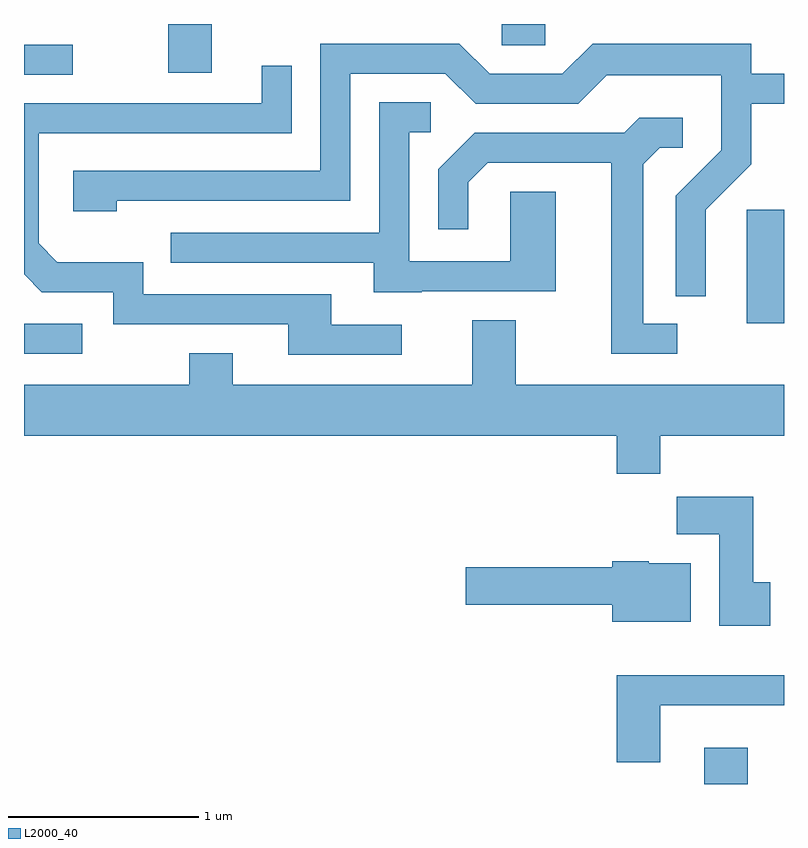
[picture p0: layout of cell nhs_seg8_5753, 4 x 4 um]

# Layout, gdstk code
import gdstk
lib = gdstk.Library(unit=1e-6, precision=1e-09)
def R(c, l, rs):  # rectangles x0, y0, x1, y1
    for r in rs: c.add(gdstk.rectangle(r[:2], r[2:], *l))
def P(c, l, *ps):  # polygons
    for p in ps: c.add(gdstk.Polygon(p, *l))
L2000_40 = (2000, 40)

nhs_seg8_5753 = lib.new_cell('nhs_seg8_5753')
R(nhs_seg8_5753, L2000_40, [(361.191,1852.342,361.419,1852.534), (357.611,1854.606,357.918,1854.764), (361.416,1854.766,361.611,1855.364), (357.611,1856.076,357.868,1856.234), (358.371,1856.086,358.599,1856.342), (360.126,1856.231,360.354,1856.342)])
P(nhs_seg8_5753, L2000_40, [(361.199,1855.364),(361.439,1855.604),(361.439,1855.921),(361.611,1855.921),(361.611,1856.079),(361.439,1856.079),(361.439,1856.239),(360.604,1856.239),(360.444,1856.079),(360.062,1856.079),(359.902,1856.239),(359.171,1856.239),(359.171,1855.569),(357.871,1855.569),(357.871,1855.356),(358.099,1855.356),(358.099,1855.411),(359.329,1855.411),(359.329,1856.081),(359.829,1856.081),(359.989,1855.921),(360.527,1855.921),(360.677,1856.071),(361.281,1856.071),(361.281,1855.677),(361.041,1855.437),(361.041,1854.908),(361.199,1854.908)],
  [(359.598,1854.759),(359.229,1854.759),(359.229,1854.919),(358.239,1854.919),(358.239,1855.089),(357.787,1855.089),(357.689,1855.187),(357.689,1855.766),(359.019,1855.766),(359.019,1856.123),(358.861,1856.123),(358.861,1855.924),(357.611,1855.924),(357.611,1855.024),(357.704,1854.931),(358.081,1854.931),(358.081,1854.761),(359.001,1854.761),(359.001,1854.601),(359.598,1854.601)],
  [(359.705,1854.936),(360.409,1854.936),(360.409,1855.459),(360.171,1855.459),(360.171,1855.094),(359.639,1855.094),(359.639,1855.771),(359.753,1855.771),(359.753,1855.929),(359.481,1855.929),(359.481,1855.244),(358.383,1855.244),(358.383,1855.086),(359.451,1855.086),(359.451,1854.931),(359.705,1854.931)],
  [(361.048,1854.764),(360.869,1854.764),(360.869,1855.604),(360.957,1855.691),(361.078,1855.691),(361.078,1855.849),(360.849,1855.849),(360.769,1855.769),(359.984,1855.769),(359.791,1855.577),(359.791,1855.263),(359.949,1855.263),(359.949,1855.509),(360.052,1855.611),(360.701,1855.611),(360.701,1854.606),(361.048,1854.606)],
  [(360.959,1854.176),(361.611,1854.176),(361.611,1854.444),(360.199,1854.444),(360.199,1854.784),(359.971,1854.784),(359.971,1854.444),(358.709,1854.444),(358.709,1854.609),(358.481,1854.609),(358.481,1854.444),(357.611,1854.444),(357.611,1854.176),(360.731,1854.176),(360.731,1853.976),(360.959,1853.976)],
  [(361.539,1853.404),(361.449,1853.404),(361.449,1853.854),(361.046,1853.854),(361.046,1853.656),(361.271,1853.656),(361.271,1853.176),(361.539,1853.176)],
  [(361.119,1853.504),(360.9,1853.504),(360.9,1853.514),(360.706,1853.514),(360.706,1853.484),(359.936,1853.484),(359.936,1853.286),(360.706,1853.286),(360.706,1853.196),(361.119,1853.196)],
  [(360.959,1852.756),(361.611,1852.756),(361.611,1852.914),(360.731,1852.914),(360.731,1852.456),(360.959,1852.456)])

lib.write_gds('nhs_seg8_5753.gds')
